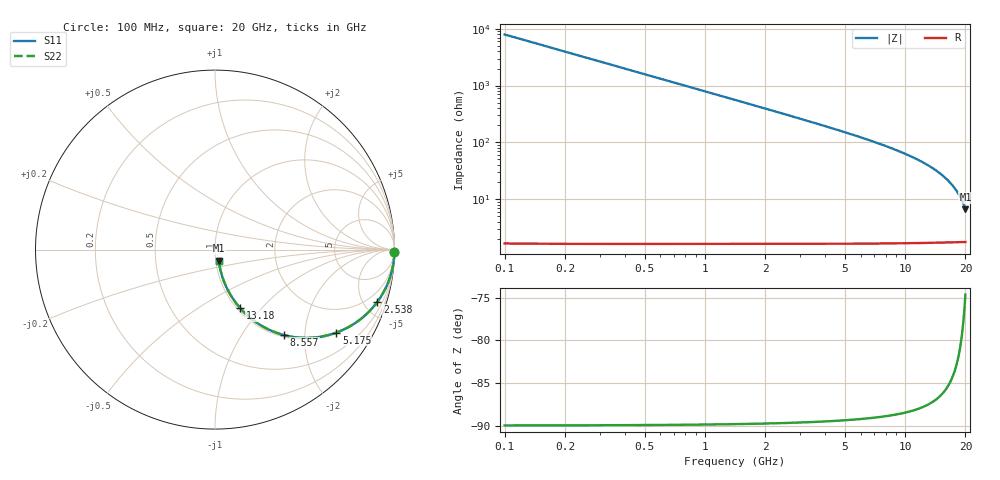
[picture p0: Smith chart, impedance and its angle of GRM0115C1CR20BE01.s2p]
!Murata Part Number: GRM0115C1CR20BE01
!These Parameters are Measured in Series Mode Connection
!Data Generated on Mar 30, 2021
!  o--ll--o
!Port1  Port2
!  o------o
!Operation Temp=25[degC], DC Bias Voltage=0[V]
!Freq. Start=100[MHz] Stop=20[GHz] 401[Steps]
# Hz S RI R 50
!Freq.(Hz) S11(Real) S11(Imag) S21(Real) S21(Imag) S12(Real) S12(Imag) S22(Real) S22(Imag)
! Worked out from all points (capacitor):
!   401 points, 100 MHz to 20 GHz, reference 50 ohm
!   read as one part in series: C = 200 fF near 199.5 MHz
!   lowest |Z| = 6.61 ohm at 20 GHz (marker M1)
!   S11 on the Smith chart (normalised r, x): 100 MHz: open; 2.538 GHz: 1.03, -6.19; 5.175 GHz: 1.03, -2.90; 8.557 GHz: 1.03, -1.57; 13.18 GHz: 1.03, -0.77; 20 GHz: 1.04, -0.13
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1e8  0.9998 -0.0126  0.00016 0.0126  0.00016 0.0126  0.9998 -0.0126
1.4975e8  0.9996 -0.0188  0.00036 0.0188  0.00036 0.0188  0.9996 -0.0188
2.99e8  0.9986 -0.0375  0.00143 0.0375  0.00143 0.0375  0.9986 -0.0375
3.985e8  0.9975 -0.05  0.00254 0.05  0.00254 0.05  0.9975 -0.05
5.975e8  0.9943 -0.0747  0.0057 0.0747  0.0057 0.0747  0.9943 -0.0747
7.965e8  0.9899 -0.0992  0.0101 0.0992  0.0101 0.0992  0.9899 -0.0992
1.095e9  0.981 -0.1353  0.019 0.1353  0.019 0.1353  0.981 -0.1353
1.493e9  0.9652 -0.1818  0.0348 0.1818  0.0348 0.1818  0.9652 -0.1818
1.9905e9  0.9393 -0.2367  0.0607 0.2367  0.0607 0.2367  0.9393 -0.2367
2.53775e9  0.9041 -0.2918  0.0959 0.2918  0.0959 0.2918  0.9041 -0.2918
3.43325e9  0.8345 -0.368  0.1655 0.368  0.1655 0.368  0.8345 -0.368
5.1745e9  0.6762 -0.4623  0.3238 0.4623  0.3238 0.4623  0.6762 -0.4623
6.7665e9  0.53 -0.4914  0.47 0.4914  0.47 0.4914  0.53 -0.4914
8.5575e9  0.3847 -0.4761  0.6153 0.4761  0.6153 0.4761  0.3847 -0.4761
1.005e10  0.2853 -0.4384  0.7147 0.4384  0.7147 0.4384  0.2853 -0.4384
1.318425e10  0.1388 -0.3243  0.8612 0.3243  0.8612 0.3243  0.1388 -0.3243
1.338325e10  0.132 -0.3164  0.868 0.3164  0.868 0.3164  0.132 -0.3164
1.517425e10  0.0818 -0.2443  0.9182 0.2443  0.9182 0.2443  0.0818 -0.2443
1.67165e10  0.0523 -0.1831  0.9477 0.1831  0.9477 0.1831  0.0523 -0.1831
1.855725e10  0.0303 -0.1131  0.9697 0.1131  0.9697 0.1131  0.0303 -0.1131
1.925375e10  0.025 -0.0877  0.975 0.0877  0.975 0.0877  0.025 -0.0877
2e10  0.021 -0.0613  0.979 0.0613  0.979 0.0613  0.021 -0.0613
